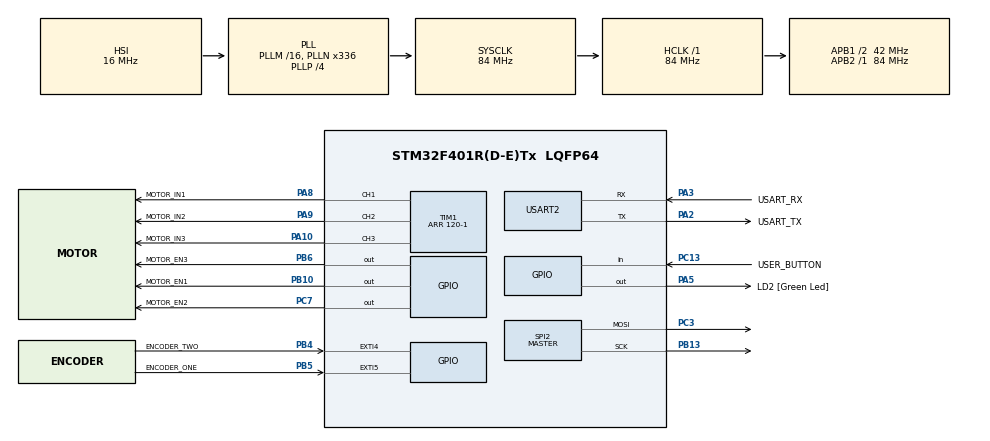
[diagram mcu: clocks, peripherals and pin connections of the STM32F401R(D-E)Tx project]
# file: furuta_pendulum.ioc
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Dma.Request0=SPI2_TX
Dma.SPI2_TX.0.Direction=DMA_MEMORY_TO_PERIPH
Dma.SPI2_TX.0.FIFOMode=DMA_FIFOMODE_DISABLE
Dma.SPI2_TX.0.Instance=DMA1_Stream4
Dma.SPI2_TX.0.MemDataAlignment=DMA_MDATAALIGN_BYTE
Dma.SPI2_TX.0.MemInc=DMA_MINC_ENABLE
Dma.SPI2_TX.0.Mode=DMA_NORMAL
Dma.SPI2_TX.0.PeriphDataAlignment=DMA_PDATAALIGN_BYTE
Dma.SPI2_TX.0.PeriphInc=DMA_PINC_DISABLE
Dma.SPI2_TX.0.Priority=DMA_PRIORITY_LOW
Mcu.Family=STM32F4
Mcu.Name=STM32F401R(D-E)Tx
Mcu.Package=LQFP64
NVIC.DMA1_Stream4_IRQn=true\:0\:0\:false\:false\:true\:true\:true\:true
NVIC.EXTI4_IRQn=true\:1\:0\:true\:false\:true\:true\:true\:true
NVIC.EXTI9_5_IRQn=true\:1\:0\:true\:false\:true\:true\:true\:true
NVIC.PriorityGroup=NVIC_PRIORITYGROUP_4
PA10.GPIO_Label=MOTOR_IN3
PA10.Signal=S_TIM1_CH3
PA13.GPIO_Label=TMS
PA13.Mode=Trace_Asynchronous_SW
PA13.Signal=SYS_JTMS-SWDIO
PA14.GPIO_Label=TCK
PA14.Mode=Trace_Asynchronous_SW
PA14.Signal=SYS_JTCK-SWCLK
PA2.GPIO_Label=USART_TX
PA2.GPIO_Mode=GPIO_MODE_AF_PP
PA2.GPIO_PuPd=GPIO_NOPULL
PA2.GPIO_Speed=GPIO_SPEED_FREQ_LOW
PA2.Mode=Asynchronous
PA2.Signal=USART2_TX
PA3.GPIO_Label=USART_RX
PA3.GPIO_Mode=GPIO_MODE_AF_PP
PA3.GPIO_PuPd=GPIO_NOPULL
PA3.GPIO_Speed=GPIO_SPEED_FREQ_LOW
PA3.Mode=Asynchronous
PA3.Signal=USART2_RX
PA5.GPIO_Label=LD2 [Green Led]
PA5.GPIO_Mode=GPIO_MODE_OUTPUT_PP
PA5.GPIO_PuPd=GPIO_NOPULL
PA5.GPIO_Speed=GPIO_SPEED_FREQ_LOW
PA5.Signal=GPIO_Output
PA8.GPIO_Label=MOTOR_IN1
PA8.Signal=S_TIM1_CH1
PA9.GPIO_Label=MOTOR_IN2
PA9.Signal=S_TIM1_CH2
PB10.GPIO_Label=MOTOR_EN1
PB10.PinState=GPIO_PIN_SET
PB10.Signal=GPIO_Output
PB13.Mode=TX_Only_Simplex_Unidirect_Master
PB13.Signal=SPI2_SCK
PB3.GPIO_Label=SWO
PB3.Mode=Trace_Asynchronous_SW
PB3.Signal=SYS_JTDO-SWO
PB4.GPIO_Label=ENCODER_TWO
PB4.GPIO_ModeDefaultEXTI=GPIO_MODE_IT_RISING_FALLING
PB4.GPIO_PuPd=GPIO_PULLUP
PB4.Signal=GPXTI4
PB5.GPIO_Label=ENCODER_ONE
PB5.GPIO_ModeDefaultEXTI=GPIO_MODE_IT_RISING_FALLING
PB5.GPIO_PuPd=GPIO_PULLUP
PB5.Signal=GPXTI5
PB6.GPIO_Label=MOTOR_EN3
PB6.PinState=GPIO_PIN_SET
PB6.Signal=GPIO_Output
PC13-ANTI_TAMP.GPIO_Label=USER_BUTTON
PC13-ANTI_TAMP.Signal=GPIO_Input
PC14-OSC32_IN.Mode=LSE-External-Oscillator
PC14-OSC32_IN.Signal=RCC_OSC32_IN
PC15-OSC32_OUT.Mode=LSE-External-Oscillator
PC15-OSC32_OUT.Signal=RCC_OSC32_OUT
PC3.Mode=TX_Only_Simplex_Unidirect_Master
PC3.Signal=SPI2_MOSI
PC7.GPIO_Label=MOTOR_EN2
PC7.PinState=GPIO_PIN_SET
PC7.Signal=GPIO_Output
PH0\ -\ OSC_IN.Mode=HSE-External-Clock-Source
PH0\ -\ OSC_IN.Signal=RCC_OSC_IN
PH1\ -\ OSC_OUT.Mode=HSE-External-Clock-Source
PH1\ -\ OSC_OUT.Signal=RCC_OSC_OUT
ProjectManager.HeapSize=0x200
ProjectManager.StackSize=0x400
ProjectManager.TargetToolchain=STM32CubeIDE
RCC.48MHZClocksFreq_Value=48000000
RCC.AHBFreq_Value=84000000
RCC.APB1CLKDivider=RCC_HCLK_DIV2
RCC.APB1Freq_Value=42000000
RCC.APB1TimFreq_Value=84000000
RCC.APB2Freq_Value=84000000
RCC.APB2TimFreq_Value=84000000
RCC.CortexFreq_Value=84000000
RCC.HCLKFreq_Value=84000000
RCC.HSE_VALUE=8000000
RCC.HSI_VALUE=16000000
RCC.PLLN=336
RCC.PLLP=RCC_PLLP_DIV4
RCC.PLLQ=7
RCC.SYSCLKFreq_VALUE=84000000
RCC.SYSCLKSource=RCC_SYSCLKSOURCE_PLLCLK
RCC.VCOOutputFreq_Value=336000000
SH.S_TIM1_CH1.0=TIM1_CH1,PWM Generation1 CH1
SH.S_TIM1_CH2.0=TIM1_CH2,PWM Generation2 CH2
SH.S_TIM1_CH3.0=TIM1_CH3,PWM Generation3 CH3
SPI2.BaudRatePrescaler=SPI_BAUDRATEPRESCALER_8
SPI2.Direction=SPI_DIRECTION_2LINES
SPI2.Mode=SPI_MODE_MASTER
SPI2.VirtualType=VM_MASTER
TIM1.AutoReloadPreload=TIM_AUTORELOAD_PRELOAD_ENABLE
TIM1.Channel-PWM\ Generation1\ CH1=TIM_CHANNEL_1
TIM1.Channel-PWM\ Generation2\ CH2=TIM_CHANNEL_2
TIM1.Channel-PWM\ Generation3\ CH3=TIM_CHANNEL_3
TIM1.Period=120-1
TIM2.Prescaler=0
TIM4.Prescaler=84-1
USART2.VirtualMode=VM_ASYNC
VP_TIM1_VS_ClockSourceINT.Mode=Internal
VP_TIM2_VS_ClockSourceINT.Mode=Internal
VP_TIM4_VS_ClockSourceINT.Mode=Internal
board=NUCLEO-F401RE

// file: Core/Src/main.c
/* USER CODE BEGIN Header */
/**
  ******************************************************************************
  * @file           : main.c
  * @brief          : Main program body
  ******************************************************************************
  * @attention
  *
  * Copyright (c) 2025 STMicroelectronics.
  * All rights reserved.
  *
  * This software is licensed under terms that can be found in the LICENSE file
  * in the root directory of this software component.
  * If no LICENSE file comes with this software, it is provided AS-IS.
  *
  ******************************************************************************
  */
/* USER CODE END Header */
#include "main.h"

SPI_HandleTypeDef hspi2;
DMA_HandleTypeDef hdma_spi2_tx;

TIM_HandleTypeDef htim1;
TIM_HandleTypeDef htim2;
TIM_HandleTypeDef htim4;

UART_HandleTypeDef huart2;

/* USER CODE BEGIN PV */
uint8_t user_button_value = 1; // store the current state of the user button. 1 = unpressed, 0 = pressed.

// state control variables
#define NO_CONTROL 0
#define INITIAL_PUSH 1
#define ENERGY_SHAPING 2
#define PID_CONTROL 3
uint8_t control_mode = NO_CONTROL;
uint8_t previous_control_mode = NO_CONTROL;

float velocity = 0.0; // velocity (output of the PID controller)
float low_pass_velocity = 0.0; // velocity after filtering to remove sudden spikes
float velocity_low_pass_constant = 0.0; // constant used for filtering velocity (0 means no filtering, approaching 1 means aggressive filtering)

uint32_t delay_since_last_cycle;
float cycle_state = 0; // where the BLDC motor is in its cycle (updated from velocity)

// variables for tracking encoder position
uint8_t encoder_one_value = 0; // value of channel one of the encoder signal
uint8_t encoder_two_value = 0; // value of channel two of the encoder signal
int position = 1200; // position of the encoder
int setpoint = 0; // target position for the PID controller

// timing for PID and energy shaping control
float time_change;
float sample_time = 0.001; // how frequently the PID & energy shaping controllers should act

float max_speed = 2.2; // maximum speed permitted

// sine lookup table for calculating duty cycles for the BLDC motor
const uint16_t sine_lookup_table[1200] = {
32768, 32939, 33111, 33282, 33454, 33625, 33797, 33968, 34140, 34311, 34482, 34654, 34825, 34996, 35167, 35338, 35509, 35680, 35851, 36022, 36193, 36363, 36534, 36704, 36874, 37045, 37215, 37384, 37554, 37724, 37893, 38063, 38232, 38401, 38570, 38739, 38908, 39076, 39244, 39412, 39580, 39748, 39916, 40083, 40250, 40417, 40584, 40750, 40916, 41083, 41248, 41414, 41579, 41744, 41909, 42074, 42238, 42402, 42566, 42730, 42893, 43056, 43219, 43381, 43544, 43706, 43867, 44028, 44189, 44350, 44510, 44670, 44830, 44989, 45148, 45307, 45465, 45623, 45781, 45938, 46095, 46252, 46408, 46564, 46719, 46874, 47029, 47183, 47337, 47491, 47644, 47796, 47949, 48100, 48252, 48403, 48553, 48703, 48853, 49002,
49151, 49300, 49448, 49595, 49742, 49888, 50035, 50180, 50325, 50470, 50614, 50758, 50901, 51043, 51186, 51327, 51468, 51609, 51749, 51889, 52028, 52166, 52304, 52442, 52579, 52715, 52851, 52986, 53121, 53255, 53389, 53522, 53654, 53786, 53918, 54048, 54178, 54308, 54437, 54565, 54693, 54820, 54947, 55073, 55198, 55323, 55447, 55571, 55694, 55816, 55938, 56059, 56179, 56299, 56418, 56536, 56654, 56771, 56888, 57003, 57118, 57233, 57347, 57460, 57572, 57684, 57795, 57906, 58015, 58124, 58233, 58340, 58447, 58553, 58659, 58764, 58868, 58971, 59074, 59176, 59277, 59377, 59477, 59576, 59675, 59772, 59869, 59965, 60060, 60155, 60249, 60342, 60434, 60526, 60616, 60706, 60796, 60884, 60972, 61059,
61145, 61230, 61315, 61399, 61482, 61564, 61646, 61726, 61806, 61885, 61964, 62041, 62118, 62194, 62269, 62343, 62416, 62489, 62561, 62632, 62702, 62771, 62840, 62908, 62975, 63041, 63106, 63170, 63234, 63297, 63359, 63420, 63480, 63539, 63598, 63656, 63712, 63768, 63824, 63878, 63931, 63984, 64036, 64086, 64136, 64186, 64234, 64281, 64328, 64374, 64418, 64462, 64506, 64548, 64589, 64630, 64669, 64708, 64746, 64783, 64819, 64854, 64889, 64922, 64955, 64986, 65017, 65047, 65076, 65104, 65132, 65158, 65183, 65208, 65232, 65255, 65277, 65298, 65318, 65337, 65355, 65373, 65390, 65405, 65420, 65434, 65447, 65459, 65470, 65481, 65490, 65499, 65506, 65513, 65519, 65524, 65528, 65531, 65533, 65535,
65535, 65535, 65533, 65531, 65528, 65524, 65519, 65513, 65506, 65499, 65490, 65481, 65470, 65459, 65447, 65434, 65420, 65405, 65390, 65373, 65355, 65337, 65318, 65298, 65277, 65255, 65232, 65208, 65183, 65158, 65132, 65104, 65076, 65047, 65017, 64986, 64955, 64922, 64889, 64854, 64819, 64783, 64746, 64708, 64669, 64630, 64589, 64548, 64506, 64462, 64418, 64374, 64328, 64281, 64234, 64186, 64136, 64086, 64036, 63984, 63931, 63878, 63824, 63768, 63712, 63656, 63598, 63539, 63480, 63420, 63359, 63297, 63234, 63170, 63106, 63041, 62975, 62908, 62840, 62771, 62702, 62632, 62561, 62489, 62416, 62343, 62269, 62194, 62118, 62041, 61964, 61885, 61806, 61726, 61646, 61564, 61482, 61399, 61315, 61230,
61145, 61059, 60972, 60884, 60796, 60706, 60616, 60526, 60434, 60342, 60249, 60155, 60060, 59965, 59869, 59772, 59675, 59576, 59477, 59377, 59277, 59176, 59074, 58971, 58868, 58764, 58659, 58553, 58447, 58340, 58233, 58124, 58015, 57906, 57795, 57684, 57572, 57460, 57347, 57233, 57118, 57003, 56888, 56771, 56654, 56536, 56418, 56299, 56179, 56059, 55938, 55816, 55694, 55571, 55447, 55323, 55198, 55073, 54947, 54820, 54693, 54565, 54437, 54308, 54178, 54048, 53918, 53786, 53654, 53522, 53389, 53255, 53121, 52986, 52851, 52715, 52579, 52442, 52304, 52166, 52028, 51889, 51749, 51609, 51468, 51327, 51186, 51043, 50901, 50758, 50614, 50470, 50325, 50180, 50035, 49888, 49742, 49595, 49448, 49300,
49151, 49002, 48853, 48703, 48553, 48403, 48252, 48100, 47949, 47796, 47644, 47491, 47337, 47183, 47029, 46874, 46719, 46564, 46408, 46252, 46095, 45938, 45781, 45623, 45465, 45307, 45148, 44989, 44830, 44670, 44510, 44350, 44189, 44028, 43867, 43706, 43544, 43381, 43219, 43056, 42893, 42730, 42566, 42402, 42238, 42074, 41909, 41744, 41579, 41414, 41248, 41083, 40916, 40750, 40584, 40417, 40250, 40083, 39916, 39748, 39580, 39412, 39244, 39076, 38908, 38739, 38570, 38401, 38232, 38063, 37893, 37724, 37554, 37384, 37215, 37045, 36874, 36704, 36534, 36363, 36193, 36022, 35851, 35680, 35509, 35338, 35167, 34996, 34825, 34654, 34482, 34311, 34140, 33968, 33797, 33625, 33454, 33282, 33111, 32939,
32768, 32596, 32424, 32253, 32081, 31910, 31738, 31567, 31395, 31224, 31053, 30881, 30710, 30539, 30368, 30197, 30026, 29855, 29684, 29513, 29342, 29172, 29001, 28831, 28661, 28490, 28320, 28151, 27981, 27811, 27642, 27472, 27303, 27134, 26965, 26796, 26627, 26459, 26291, 26123, 25955, 25787, 25619, 25452, 25285, 25118, 24951, 24785, 24619, 24452, 24287, 24121, 23956, 23791, 23626, 23461, 23297, 23133, 22969, 22805, 22642, 22479, 22316, 22154, 21991, 21829, 21668, 21507, 21346, 21185, 21025, 20865, 20705, 20546, 20387, 20228, 20070, 19912, 19754, 19597, 19440, 19283, 19127, 18971, 18816, 18661, 18506, 18352, 18198, 18044, 17891, 17739, 17586, 17435, 17283, 17132, 16982, 16832, 16682, 16533,
16384, 16235, 16087, 15940, 15793, 15647, 15500, 15355, 15210, 15065, 14921, 14777, 14634, 14492, 14349, 14208, 14067, 13926, 13786, 13646, 13507, 13369, 13231, 13093, 12956, 12820, 12684, 12549, 12414, 12280, 12146, 12013, 11881, 11749, 11617, 11487, 11357, 11227, 11098, 10970, 10842, 10715, 10588, 10462, 10337, 10212, 10088, 9964, 9841, 9719, 9597, 9476, 9356, 9236, 9117, 8999, 8881, 8764, 8647, 8532, 8417, 8302, 8188, 8075, 7963, 7851, 7740, 7629, 7520, 7411, 7302, 7195, 7088, 6982, 6876, 6771, 6667, 6564, 6461, 6359, 6258, 6158, 6058, 5959, 5860, 5763, 5666, 5570, 5475, 5380, 5286, 5193, 5101, 5009, 4919, 4829, 4739, 4651, 4563, 4476,
4390, 4305, 4220, 4136, 4053, 3971, 3889, 3809, 3729, 3650, 3571, 3494, 3417, 3341, 3266, 3192, 3119, 3046, 2974, 2903, 2833, 2764, 2695, 2627, 2560, 2494, 2429, 2365, 2301, 2238, 2176, 2115, 2055, 1996, 1937, 1879, 1823, 1767, 1711, 1657, 1604, 1551, 1499, 1449, 1399, 1349, 1301, 1254, 1207, 1161, 1117, 1073, 1029, 987, 946, 905, 866, 827, 789, 752, 716, 681, 646, 613, 580, 549, 518, 488, 459, 431, 403, 377, 352, 327, 303, 280, 258, 237, 217, 198, 180, 162, 145, 130, 115, 101, 88, 76, 65, 54, 45, 36, 29, 22, 16, 11, 7, 4, 2, 0,
0, 0, 2, 4, 7, 11, 16, 22, 29, 36, 45, 54, 65, 76, 88, 101, 115, 130, 145, 162, 180, 198, 217, 237, 258, 280, 303, 327, 352, 377, 403, 431, 459, 488, 518, 549, 580, 613, 646, 681, 716, 752, 789, 827, 866, 905, 946, 987, 1029, 1073, 1117, 1161, 1207, 1254, 1301, 1349, 1399, 1449, 1499, 1551, 1604, 1657, 1711, 1767, 1823, 1879, 1937, 1996, 2055, 2115, 2176, 2238, 2301, 2365, 2429, 2494, 2560, 2627, 2695, 2764, 2833, 2903, 2974, 3046, 3119, 3192, 3266, 3341, 3417, 3494, 3571, 3650, 3729, 3809, 3889, 3971, 4053, 4136, 4220, 4305,
4390, 4476, 4563, 4651, 4739, 4829, 4919, 5009, 5101, 5193, 5286, 5380, 5475, 5570, 5666, 5763, 5860, 5959, 6058, 6158, 6258, 6359, 6461, 6564, 6667, 6771, 6876, 6982, 7088, 7195, 7302, 7411, 7520, 7629, 7740, 7851, 7963, 8075, 8188, 8302, 8417, 8532, 8647, 8764, 8881, 8999, 9117, 9236, 9356, 9476, 9597, 9719, 9841, 9964, 10088, 10212, 10337, 10462, 10588, 10715, 10842, 10970, 11098, 11227, 11357, 11487, 11617, 11749, 11881, 12013, 12146, 12280, 12414, 12549, 12684, 12820, 12956, 13093, 13231, 13369, 13507, 13646, 13786, 13926, 14067, 14208, 14349, 14492, 14634, 14777, 14921, 15065, 15210, 15355, 15500, 15647, 15793, 15940, 16087, 16235,
16384, 16533, 16682, 16832, 16982, 17132, 17283, 17435, 17586, 17739, 17891, 18044, 18198, 18352, 18506, 18661, 18816, 18971, 19127, 19283, 19440, 19597, 19754, 19912, 20070, 20228, 20387, 20546, 20705, 20865, 21025, 21185, 21346, 21507, 21668, 21829, 21991, 22154, 22316, 22479, 22642, 22805, 22969, 23133, 23297, 23461, 23626, 23791, 23956, 24121, 24287, 24452, 24619, 24785, 24951, 25118, 25285, 25452, 25619, 25787, 25955, 26123, 26291, 26459, 26627, 26796, 26965, 27134, 27303, 27472, 27642, 27811, 27981, 28151, 28320, 28490, 28661, 28831, 29001, 29172, 29342, 29513, 29684, 29855, 30026, 30197, 30368, 30539, 30710, 30881, 31053, 31224, 31395, 31567, 31738, 31910, 32081, 32253, 32424, 32596};

/* USER CODE END PV */

void SystemClock_Config(void);
static void MX_GPIO_Init(void);
static void MX_DMA_Init(void);
static void MX_USART2_UART_Init(void);
static void MX_TIM1_Init(void);
static void MX_TIM2_Init(void);
static void MX_TIM4_Init(void);
static void MX_SPI2_Init(void);

/* USER CODE BEGIN 0 */

// variables for communication with LEDs
uint8_t spi_data[290];
int data_sent_flag = 1;
#define SPI_DATA_SIZE 290

float value = 0.05; // LED brightness

#define NUM_LEDS 10 // number of LEDs to control
#define DUTY_CYCLE_ONE 0b111100 // SPI data to send a 1 to the LED chip
#define DUTY_CYCLE_ZERO 0b110000 // SPI data to send a 0 to the LED chip

// LED CONTROL
void WS2812_Send(uint32_t colours[])
{
  for (int x = 0; x < NUM_LEDS; x++) {
	  int colour = colours[x];
    for (int i = 0; i < 24; i++)
    {
      if (colour&(1<<(23 - i)))
      {
        spi_data[i + (x * 24)] = DUTY_CYCLE_ONE;
      }
      else spi_data[i + (x * 24)] = DUTY_CYCLE_ZERO;
    }
  }

  // force a gap after the data is finished (from datasheet, min 50 microseconds)
  for (int i = 0; i < 50; i++) {
    spi_data[i + (NUM_LEDS * 24)] = 0;
  }

  // wait for the previous data to be sent
  while (!data_sent_flag){};
	data_sent_flag = 0;

	HAL_SPI_Transmit_DMA(&hspi2, (uint32_t *)spi_data, SPI_DATA_SIZE);
}

// callback for when sending data to the LEDs has finished
void HAL_SPI_TxCpltCallback(SPI_HandleTypeDef *hspi)
{
	HAL_SPI_DMAStop(&hspi2);
	data_sent_flag = 1;
}

// ENCODER READING (via interrupts)
void HAL_GPIO_EXTI_Callback(uint16_t GPIO_pin) {
	if (GPIO_pin == ENCODER_ONE_Pin) {
    encoder_one_value = HAL_GPIO_ReadPin(ENCODER_ONE_GPIO_Port, ENCODER_ONE_Pin);

    if (encoder_two_value == encoder_one_value) { // determine phase of the two signals
      position++;
    } else {
      position--;
    }
	} else if (GPIO_pin == ENCODER_TWO_Pin) {
    encoder_two_value = HAL_GPIO_ReadPin(ENCODER_TWO_GPIO_Port, ENCODER_TWO_Pin);

    if (encoder_one_value == encoder_two_value) { // determine phase of the two signals
      position--;
    } else {
      position++;
    }
  } else {
		UNUSED(GPIO_pin);
	}
}

// variables to track for energy shaping control
float energy_shaping_scalar = 0.9;
float previous_position = 0;
float cosine_angle;
float angular_velocity;
float energy_term;

void ComputeEnergyShaping() {
  int time_change_arbitrary_units = __HAL_TIM_GET_COUNTER(&htim2);
  time_change = time_change_arbitrary_units / 84000000.0;

  if (time_change >= sample_time) {
    __HAL_TIM_SET_COUNTER(&htim2, 0);

    if (previous_control_mode != ENERGY_SHAPING) { // don't act during the first cycle of energy shaping control
      previous_position = position;
      previous_control_mode = control_mode;
      return;
    }

    int position_inverted = 1200 - position;
    if (position_inverted > 1200) {
      position_inverted -= 2400;
    } else if (position_inverted <= -1200) {
      position_inverted += 2400;
    }

    // work out the equivelant index in the sine lookup table for cosine
    int index = floor(((position_inverted + 600) % 2400) / 2);
    if (index < 0) {
      index += 1200;
    } else if (index >= 1200) {
      index -= 1200;
    }

    cosine_angle = (sine_lookup_table[index] / 65535.0 * 2.0) - 1.0;

    int position_change = (position - previous_position);

    if (position_change > 1200) {
      position_change -= 2400;
    } else if (position_change <= -1200) {
      position_change += 2400;
    }

    angular_velocity = position_change / time_change / 2400.0; // angular velocity of the encoder (in full cycles per second, NOT radians per second)

    energy_term = (9.81 * (1 + cosine_angle) - 0.9 * angular_velocity * angular_velocity); // a term in the expression based on how much more energy is required to get the pendulum upright

    velocity += time_change * energy_shaping_scalar * angular_velocity * (cosine_angle * cosine_angle * cosine_angle * cosine_angle) * energy_term;

    velocity *= 0.98; // damp the velocity so that it remains close to zero

    if (velocity > max_speed) velocity = max_speed;
    else if (velocity < -max_speed) velocity = -max_speed;

    previous_position = position;
  }
}

// PID coefficients
float kp = 8.25; // proportional constant
float ki = 151.0; // integral constant
float kd = 0.300; // differential constant

// float kp = 7.2; // proportional constant
// float ki = 109.0; // integral constant
// float kd = 0.238; // differential constant

// Ku ~ 25.0
// Tu ~ 0.109s

float max_integral_term = 1.2; // maximum magnitude of the I term, to prevent integral windup

// variables to track for PID control
float error = 0.0;
float low_pass_error = 0.0;
float error_low_pass_constant = 0.0;

float previous_error = 0.0;

float integral_term = 0.0;
float min_error = 0.020;

// PID algorithm
void ComputePID() {
  int time_change_arbitrary_units = __HAL_TIM_GET_COUNTER(&htim2);
  time_change = time_change_arbitrary_units / 84000000.0;

  if (time_change >= sample_time) {
    __HAL_TIM_SET_COUNTER(&htim2, 0);

    error = (position - setpoint) / 1200.0;

    if (error > 1.0) error -= 2.0;
    if (error <= -1.0) error += 2.0;

    if (previous_control_mode != PID_CONTROL) { // in the first cycle of PID control, reset the integral
      low_pass_error = error;
      integral_term = 0.0;
    }

		low_pass_error = (error_low_pass_constant * previous_error) + (1 - error_low_pass_constant) * error;

		integral_term += ki * time_change * error;

    if (previous_control_mode != PID_CONTROL) { // don't act during the first cycle of PID control
      previous_error = low_pass_error;
      previous_control_mode = control_mode;
      return;
    }

    float error_magnitude = error;
    if (error_magnitude < 0) {
      error_magnitude = -error_magnitude;
    }

    if (error_magnitude < min_error) integral_term *= 0.92 + error_magnitude * 4.0; // when the error is small, scale down the integral term

		if (integral_term > max_integral_term) integral_term = max_integral_term;
		else if (integral_term < -max_integral_term) integral_term = -max_integral_term;

		float error_change = low_pass_error - previous_error;

		if (error_change >= 1.0) error_change -= 2.0;
		else if (error_change < -1.0) error_change += 2.0;

		float new_velocity = (kp * error) + (integral_term) + (kd * error_change / time_change);

		if (new_velocity > max_speed) new_velocity = max_speed;
		else if (new_velocity < -max_speed) new_velocity = -max_speed;

		velocity = new_velocity;

		previous_error = low_pass_error;
  }
}

/* USER CODE END 0 */

int main(void)
{

  /* MCU Configuration--------------------------------------------------------*/

  /* Reset of all peripherals, Initializes the Flash interface and the Systick. */
  HAL_Init();

  /* Configure the system clock */
  SystemClock_Config();

  /* Initialize all configured peripherals */
  MX_GPIO_Init();
  MX_DMA_Init();
  MX_USART2_UART_Init();
  MX_TIM1_Init();
  MX_TIM2_Init();
  MX_TIM4_Init();
  MX_SPI2_Init();
  /* USER CODE BEGIN 2 */

  HAL_TIM_PWM_Start(&htim1, TIM_CHANNEL_1);
  HAL_TIM_PWM_Start(&htim1, TIM_CHANNEL_2);
  HAL_TIM_PWM_Start(&htim1, TIM_CHANNEL_3);

  HAL_TIM_Base_Start(&htim2); // timer 2 is used for PID & energy shaping controllers
  HAL_TIM_Base_Start(&htim4); // timer 4 is used for timing the while loop below

  // read the initial encoder values
  encoder_one_value = HAL_GPIO_ReadPin(ENCODER_ONE_GPIO_Port, ENCODER_ONE_Pin);
  encoder_two_value = HAL_GPIO_ReadPin(ENCODER_TWO_GPIO_Port, ENCODER_TWO_Pin);

  /* USER CODE END 2 */

  /* Infinite loop */
  while (1)
  {

    /* USER CODE BEGIN 3 */

    uint32_t colours[10];

    int distance = position;

    if (distance < 0) {
      distance = -distance;
    }

    distance = distance * 2.125; // scale the distance so that half a rotation causes all of the LEDs to be fully lit

    // calculate the intensity of each LED
    for (int i = 0; i < 10; i++) {
      int intensity = distance - i * 255;
      if (intensity < 0) {
        intensity = 0;
      } else if (intensity > 255) {
        intensity = 255;
      }
      if (position >= 0) {
        colours[i] = ((uint32_t) floor(intensity * value)) * 0x010001;
      } else {
        colours[i] = ((uint32_t) floor(intensity * value)) * 0x010100;
      }
    }

    WS2812_Send(colours); // send data to the LEDs

    user_button_value = HAL_GPIO_ReadPin(USER_BUTTON_GPIO_Port, USER_BUTTON_Pin);

    if (position > 1200) { // check if encoder position has rolled over
      position -= 2400;
    } else if (position <= -1200) {
      position += 2400;
    }

    // state logic
    if (!user_button_value) {
      control_mode = INITIAL_PUSH;
    } else if (control_mode == NO_CONTROL) {
      control_mode = NO_CONTROL;
    } else if (position > 60 || position < -60) {
      control_mode = ENERGY_SHAPING;
    } else {
      control_mode = PID_CONTROL;
    }

    // execute logic for the current state
    switch (control_mode) {
      case NO_CONTROL:
        velocity = 0.0;
        previous_control_mode = control_mode;
        break;
      case INITIAL_PUSH:
        velocity = 0.2;
        previous_control_mode = control_mode;
        break;
      case ENERGY_SHAPING:
        ComputeEnergyShaping();
        break;
      case PID_CONTROL:
        ComputePID();
        break;
    }

    delay_since_last_cycle = __HAL_TIM_GET_COUNTER(&htim4);
    __HAL_TIM_SET_COUNTER(&htim4, 0);

    low_pass_velocity = (velocity_low_pass_constant * low_pass_velocity) + ((1 - velocity_low_pass_constant) * velocity);

    cycle_state += low_pass_velocity * delay_since_last_cycle / 50.0; // update BLDC motor position according to velocity

    if (cycle_state < 0) { // check if BLDC motor position has rolled over
      cycle_state += 1200;
    } else if (cycle_state >= 1200) {
      cycle_state -= 1200;
    }

    float speed = velocity;
    if (speed < 0) {
      speed = -speed;
    }

    // choose a time period for the PWM signal sent to the BLDC motor; at higher speeds, the time period should be shorter (i.e. frequency is proportional to speed)
    int period = 2000;
    if (speed > 0.0) {
      period = floor(2000.0 / speed);
      if (period > 40000) {
        period = 40000;
      } else if (period < 1000) {
        period = 1000;
      }
    }

    float duty_cycle_scalar = 0.1 + (speed / 2.5); // all three duty cycles should be higher at high speeds; this effectively regulates the voltage to the motor (though not really)

    // use the sine lookup table to cal
    uint16_t motor_in1_duty_cycle = sine_lookup_table[floor(cycle_state)];
    uint16_t motor_in2_duty_cycle = sine_lookup_table[(floor(cycle_state + 400)) % 1200];
    uint16_t motor_in3_duty_cycle = sine_lookup_table[(floor(cycle_state + 800)) % 1200];

    // set PWM duty cycles
    TIM1->CCR1 = floor(((float) motor_in1_duty_cycle) * duty_cycle_scalar * period / 65535.0);
    TIM1->CCR2 = floor(((float) motor_in2_duty_cycle) * duty_cycle_scalar * period / 65535.0);
    TIM1->CCR3 = floor(((float) motor_in3_duty_cycle) * duty_cycle_scalar * period / 65535.0);

    // set PWM period
    TIM1->ARR = period;
  }
  /* USER CODE END 3 */
}

void SystemClock_Config(void)
{
  RCC_OscInitTypeDef RCC_OscInitStruct = {0};
  RCC_ClkInitTypeDef RCC_ClkInitStruct = {0};

  /** Configure the main internal regulator output voltage
  */
  __HAL_RCC_PWR_CLK_ENABLE();
  __HAL_PWR_VOLTAGESCALING_CONFIG(PWR_REGULATOR_VOLTAGE_SCALE2);

  /** Initializes the RCC Oscillators according to the specified parameters
  * in the RCC_OscInitTypeDef structure.
  */
  RCC_OscInitStruct.OscillatorType = RCC_OSCILLATORTYPE_HSI;
  RCC_OscInitStruct.HSIState = RCC_HSI_ON;
  RCC_OscInitStruct.HSICalibrationValue = RCC_HSICALIBRATION_DEFAULT;
  RCC_OscInitStruct.PLL.PLLState = RCC_PLL_ON;
  RCC_OscInitStruct.PLL.PLLSource = RCC_PLLSOURCE_HSI;
  RCC_OscInitStruct.PLL.PLLM = 16;
  RCC_OscInitStruct.PLL.PLLN = 336;
  RCC_OscInitStruct.PLL.PLLP = RCC_PLLP_DIV4;
  RCC_OscInitStruct.PLL.PLLQ = 7;
  if (HAL_RCC_OscConfig(&RCC_OscInitStruct) != HAL_OK)
  {
    Error_Handler();
  }

  /** Initializes the CPU, AHB and APB buses clocks
  */
  RCC_ClkInitStruct.ClockType = RCC_CLOCKTYPE_HCLK|RCC_CLOCKTYPE_SYSCLK
                              |RCC_CLOCKTYPE_PCLK1|RCC_CLOCKTYPE_PCLK2;
  RCC_ClkInitStruct.SYSCLKSource = RCC_SYSCLKSOURCE_PLLCLK;
  RCC_ClkInitStruct.AHBCLKDivider = RCC_SYSCLK_DIV1;
  RCC_ClkInitStruct.APB1CLKDivider = RCC_HCLK_DIV2;
  RCC_ClkInitStruct.APB2CLKDivider = RCC_HCLK_DIV1;

  if (HAL_RCC_ClockConfig(&RCC_ClkInitStruct, FLASH_LATENCY_2) != HAL_OK)
  {
    Error_Handler();
  }
}

static void MX_SPI2_Init(void)
{

  /* SPI2 parameter configuration*/
  hspi2.Instance = SPI2;
  hspi2.Init.Mode = SPI_MODE_MASTER;
  hspi2.Init.Direction = SPI_DIRECTION_2LINES;
  hspi2.Init.DataSize = SPI_DATASIZE_8BIT;
  hspi2.Init.CLKPolarity = SPI_POLARITY_LOW;
  hspi2.Init.CLKPhase = SPI_PHASE_1EDGE;
  hspi2.Init.NSS = SPI_NSS_SOFT;
  hspi2.Init.BaudRatePrescaler = SPI_BAUDRATEPRESCALER_8;
  hspi2.Init.FirstBit = SPI_FIRSTBIT_MSB;
  hspi2.Init.TIMode = SPI_TIMODE_DISABLE;
  hspi2.Init.CRCCalculation = SPI_CRCCALCULATION_DISABLE;
  hspi2.Init.CRCPolynomial = 10;
  if (HAL_SPI_Init(&hspi2) != HAL_OK)
  {
    Error_Handler();
  }

}

static void MX_TIM1_Init(void)
{

  TIM_ClockConfigTypeDef sClockSourceConfig = {0};
  TIM_MasterConfigTypeDef sMasterConfig = {0};
  TIM_OC_InitTypeDef sConfigOC = {0};
  TIM_BreakDeadTimeConfigTypeDef sBreakDeadTimeConfig = {0};

  htim1.Instance = TIM1;
  htim1.Init.Prescaler = 0;
  htim1.Init.CounterMode = TIM_COUNTERMODE_UP;
  htim1.Init.Period = 120-1;
  htim1.Init.ClockDivision = TIM_CLOCKDIVISION_DIV1;
  htim1.Init.RepetitionCounter = 0;
  htim1.Init.AutoReloadPreload = TIM_AUTORELOAD_PRELOAD_ENABLE;
  if (HAL_TIM_Base_Init(&htim1) != HAL_OK)
  {
    Error_Handler();
  }
  sClockSourceConfig.ClockSource = TIM_CLOCKSOURCE_INTERNAL;
  if (HAL_TIM_ConfigClockSource(&htim1, &sClockSourceConfig) != HAL_OK)
  {
    Error_Handler();
  }
  if (HAL_TIM_PWM_Init(&htim1) != HAL_OK)
  {
    Error_Handler();
  }
  sMasterConfig.MasterOutputTrigger = TIM_TRGO_RESET;
  sMasterConfig.MasterSlaveMode = TIM_MASTERSLAVEMODE_DISABLE;
  if (HAL_TIMEx_MasterConfigSynchronization(&htim1, &sMasterConfig) != HAL_OK)
  {
    Error_Handler();
  }
  sConfigOC.OCMode = TIM_OCMODE_PWM1;
  sConfigOC.Pulse = 0;
  sConfigOC.OCPolarity = TIM_OCPOLARITY_HIGH;
  sConfigOC.OCNPolarity = TIM_OCNPOLARITY_HIGH;
  sConfigOC.OCFastMode = TIM_OCFAST_DISABLE;
  sConfigOC.OCIdleState = TIM_OCIDLESTATE_RESET;
  sConfigOC.OCNIdleState = TIM_OCNIDLESTATE_RESET;
  if (HAL_TIM_PWM_ConfigChannel(&htim1, &sConfigOC, TIM_CHANNEL_1) != HAL_OK)
  {
    Error_Handler();
  }
  if (HAL_TIM_PWM_ConfigChannel(&htim1, &sConfigOC, TIM_CHANNEL_2) != HAL_OK)
  {
    Error_Handler();
  }
  if (HAL_TIM_PWM_ConfigChannel(&htim1, &sConfigOC, TIM_CHANNEL_3) != HAL_OK)
  {
    Error_Handler();
  }
  sBreakDeadTimeConfig.OffStateRunMode = TIM_OSSR_DISABLE;
  sBreakDeadTimeConfig.OffStateIDLEMode = TIM_OSSI_DISABLE;
  sBreakDeadTimeConfig.LockLevel = TIM_LOCKLEVEL_OFF;
  sBreakDeadTimeConfig.DeadTime = 0;
  sBreakDeadTimeConfig.BreakState = TIM_BREAK_DISABLE;
  sBreakDeadTimeConfig.BreakPolarity = TIM_BREAKPOLARITY_HIGH;
  sBreakDeadTimeConfig.AutomaticOutput = TIM_AUTOMATICOUTPUT_DISABLE;
  if (HAL_TIMEx_ConfigBreakDeadTime(&htim1, &sBreakDeadTimeConfig) != HAL_OK)
  {
    Error_Handler();
  }
  HAL_TIM_MspPostInit(&htim1);

}

static void MX_TIM2_Init(void)
{

  TIM_ClockConfigTypeDef sClockSourceConfig = {0};
  TIM_MasterConfigTypeDef sMasterConfig = {0};

  htim2.Instance = TIM2;
  htim2.Init.Prescaler = 0;
  htim2.Init.CounterMode = TIM_COUNTERMODE_UP;
  htim2.Init.Period = 4294967295;
  htim2.Init.ClockDivision = TIM_CLOCKDIVISION_DIV1;
  htim2.Init.AutoReloadPreload = TIM_AUTORELOAD_PRELOAD_DISABLE;
  if (HAL_TIM_Base_Init(&htim2) != HAL_OK)
  {
    Error_Handler();
  }
  sClockSourceConfig.ClockSource = TIM_CLOCKSOURCE_INTERNAL;
  if (HAL_TIM_ConfigClockSource(&htim2, &sClockSourceConfig) != HAL_OK)
  {
    Error_Handler();
  }
  sMasterConfig.MasterOutputTrigger = TIM_TRGO_RESET;
  sMasterConfig.MasterSlaveMode = TIM_MASTERSLAVEMODE_DISABLE;
  if (HAL_TIMEx_MasterConfigSynchronization(&htim2, &sMasterConfig) != HAL_OK)
  {
    Error_Handler();
  }

}

static void MX_TIM4_Init(void)
{

  TIM_ClockConfigTypeDef sClockSourceConfig = {0};
  TIM_MasterConfigTypeDef sMasterConfig = {0};

  htim4.Instance = TIM4;
  htim4.Init.Prescaler = 84-1;
  htim4.Init.CounterMode = TIM_COUNTERMODE_UP;
  htim4.Init.Period = 65535;
  htim4.Init.ClockDivision = TIM_CLOCKDIVISION_DIV1;
  htim4.Init.AutoReloadPreload = TIM_AUTORELOAD_PRELOAD_DISABLE;
  if (HAL_TIM_Base_Init(&htim4) != HAL_OK)
  {
    Error_Handler();
  }
  sClockSourceConfig.ClockSource = TIM_CLOCKSOURCE_INTERNAL;
  if (HAL_TIM_ConfigClockSource(&htim4, &sClockSourceConfig) != HAL_OK)
  {
    Error_Handler();
  }
  sMasterConfig.MasterOutputTrigger = TIM_TRGO_RESET;
  sMasterConfig.MasterSlaveMode = TIM_MASTERSLAVEMODE_DISABLE;
  if (HAL_TIMEx_MasterConfigSynchronization(&htim4, &sMasterConfig) != HAL_OK)
  {
    Error_Handler();
  }

}

static void MX_USART2_UART_Init(void)
{

  huart2.Instance = USART2;
  huart2.Init.BaudRate = 115200;
  huart2.Init.WordLength = UART_WORDLENGTH_8B;
  huart2.Init.StopBits = UART_STOPBITS_1;
  huart2.Init.Parity = UART_PARITY_NONE;
  huart2.Init.Mode = UART_MODE_TX_RX;
  huart2.Init.HwFlowCtl = UART_HWCONTROL_NONE;
  huart2.Init.OverSampling = UART_OVERSAMPLING_16;
  if (HAL_UART_Init(&huart2) != HAL_OK)
  {
    Error_Handler();
  }

}

static void MX_DMA_Init(void)
{

  /* DMA controller clock enable */
  __HAL_RCC_DMA1_CLK_ENABLE();

  /* DMA interrupt init */
  /* DMA1_Stream4_IRQn interrupt configuration */
  HAL_NVIC_SetPriority(DMA1_Stream4_IRQn, 0, 0);
  HAL_NVIC_EnableIRQ(DMA1_Stream4_IRQn);

}

static void MX_GPIO_Init(void)
{
  GPIO_InitTypeDef GPIO_InitStruct = {0};

  /* GPIO Ports Clock Enable */
  __HAL_RCC_GPIOC_CLK_ENABLE();
  __HAL_RCC_GPIOH_CLK_ENABLE();
  __HAL_RCC_GPIOA_CLK_ENABLE();
  __HAL_RCC_GPIOB_CLK_ENABLE();

  /*Configure GPIO pin Output Level */
  HAL_GPIO_WritePin(LD2_GPIO_Port, LD2_Pin, GPIO_PIN_RESET);

  /*Configure GPIO pin Output Level */
  HAL_GPIO_WritePin(GPIOB, MOTOR_EN1_Pin|MOTOR_EN3_Pin, GPIO_PIN_SET);

  /*Configure GPIO pin Output Level */
  HAL_GPIO_WritePin(MOTOR_EN2_GPIO_Port, MOTOR_EN2_Pin, GPIO_PIN_SET);

  /*Configure GPIO pin : USER_BUTTON_Pin */
  GPIO_InitStruct.Pin = USER_BUTTON_Pin;
  GPIO_InitStruct.Mode = GPIO_MODE_INPUT;
  GPIO_InitStruct.Pull = GPIO_NOPULL;
  HAL_GPIO_Init(USER_BUTTON_GPIO_Port, &GPIO_InitStruct);

  /*Configure GPIO pin : LD2_Pin */
  GPIO_InitStruct.Pin = LD2_Pin;
  GPIO_InitStruct.Mode = GPIO_MODE_OUTPUT_PP;
  GPIO_InitStruct.Pull = GPIO_NOPULL;
  GPIO_InitStruct.Speed = GPIO_SPEED_FREQ_LOW;
  HAL_GPIO_Init(LD2_GPIO_Port, &GPIO_InitStruct);

  /*Configure GPIO pins : MOTOR_EN1_Pin MOTOR_EN3_Pin */
  GPIO_InitStruct.Pin = MOTOR_EN1_Pin|MOTOR_EN3_Pin;
  GPIO_InitStruct.Mode = GPIO_MODE_OUTPUT_PP;
  GPIO_InitStruct.Pull = GPIO_NOPULL;
  GPIO_InitStruct.Speed = GPIO_SPEED_FREQ_LOW;
  HAL_GPIO_Init(GPIOB, &GPIO_InitStruct);

  /*Configure GPIO pin : MOTOR_EN2_Pin */
  GPIO_InitStruct.Pin = MOTOR_EN2_Pin;
  GPIO_InitStruct.Mode = GPIO_MODE_OUTPUT_PP;
  GPIO_InitStruct.Pull = GPIO_NOPULL;
  GPIO_InitStruct.Speed = GPIO_SPEED_FREQ_LOW;
  HAL_GPIO_Init(MOTOR_EN2_GPIO_Port, &GPIO_InitStruct);

  /*Configure GPIO pins : ENCODER_TWO_Pin ENCODER_ONE_Pin */
  GPIO_InitStruct.Pin = ENCODER_TWO_Pin|ENCODER_ONE_Pin;
  GPIO_InitStruct.Mode = GPIO_MODE_IT_RISING_FALLING;
  GPIO_InitStruct.Pull = GPIO_PULLUP;
  HAL_GPIO_Init(GPIOB, &GPIO_InitStruct);

  /* EXTI interrupt init*/
  HAL_NVIC_SetPriority(EXTI4_IRQn, 1, 0);
  HAL_NVIC_EnableIRQ(EXTI4_IRQn);

  HAL_NVIC_SetPriority(EXTI9_5_IRQn, 1, 0);
  HAL_NVIC_EnableIRQ(EXTI9_5_IRQn);

}

void Error_Handler(void)
{
  __disable_irq();
  while (1)
  {
  }
}
